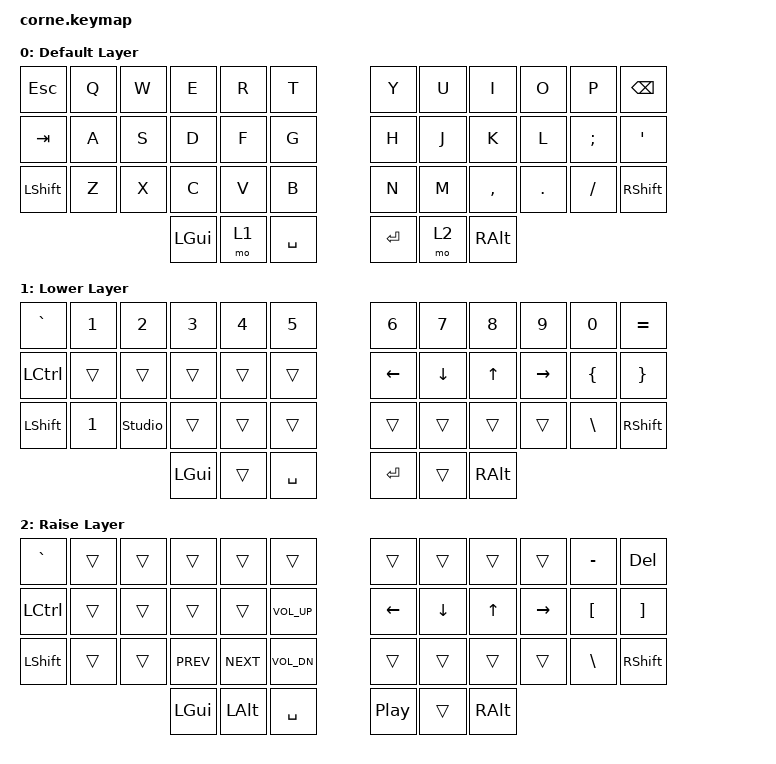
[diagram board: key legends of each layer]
/*
 * Copyright (c) 2020 The ZMK Contributors
 *
 * SPDX-License-Identifier: MIT
 */
#include <behaviors.dtsi>
#include <dt-bindings/zmk/keys.h>
#include <dt-bindings/zmk/bt.h>

/ {
        keymap { 
                compatible = "zmk,keymap";

                default_layer {
                        display-name = "Default Layer";
// ---------------- -------------------------------------------------------------------------
// |  ESC |  Q  |  W  |  E  |  R  |  T  |   |  Y  |  U   |  I  |  O  |  P  | BSPC |
// | TAB  |  A  |  S  |  D  |  F  |  G  |   |  H  |  J   |  K  |  L  |  ;  |  '   |
// | SHFT |  Z  |  X  |  C  |  V  |  B  |   |  N  |  M   |  ,  |  .  |  /  | RSHFT|
//                    | GUI | LWR | SPC |   | ENT | RSE  | ALT |
                        bindings = <
   &kp ESC   &kp Q &kp W &kp E &kp R &kp T   &kp Y &kp U  &kp I     &kp O   &kp P    &kp BSPC
   &kp TAB   &kp A &kp S &kp D &kp F &kp G   &kp H &kp J  &kp K     &kp L   &kp SEMI &kp SQT
   &kp LSHFT &kp Z &kp X &kp C &kp V &kp B   &kp N &kp M  &kp COMMA &kp DOT &kp FSLH &kp RSHFT
                  &kp LGUI &mo 1 &kp SPACE   &kp RET  &mo 2 &kp RALT
                        >;
                };
                lower_layer {
                        display-name = "Lower Layer";
// -----------------------------------------------------------------------------------------
// |  `   |  1  |  2  |  3  |  4  |  5  |   |  6  |  7  |  8  |  9  |  0  | = |
// | CTRL |     |     |     |     |     |   | LFT | DWN |  UP | RGT |     |      |
// | SHFT |  1  | std |     |     |     |   |     |     |     |     |  \  | RSHFT|
//                    | GUI |     | SPC |   | ENT |     | ALT |
                        bindings = <
   &kp GRAVE  &kp N1       &kp N2        &kp N3       &kp N4       &kp N5         &kp N6   &kp N7   &kp N8 &kp N9    &kp N0 &kp EQUAL
   &kp LCTRL  &trans       &trans        &trans       &trans       &trans         &kp LEFT &kp DOWN &kp UP &kp RIGHT &kp LEFT_BRACE &kp RIGHT_BRACE
   &kp LSHFT  &kp N1     &studio_unlock  &trans       &trans       &trans         &trans   &trans   &trans &trans    &kp BSLH &kp RSHFT
                                    &kp LGUI     &trans       &kp SPACE      &kp RET  &trans   &kp RALT
                        >;
                };

                raise_layer {
                        display-name = "Raise Layer";
// -----------------------------------------------------------------------------------------
// |  `   |     |     |     |     |     |   |     |     |     |     |  -  | DEL  |
// | CTRL |     |     |     |     | VOL+|   | LFT | DWN |  UP | RGT |     |      |
// | SHFT |     |     | PREV| NEXT| VOL-|   |     |     |     |     |  \  | RSHFT|
//                    | GUI | ALT | SPC |   | C_PP|     | ALT |
                        bindings = <
   &kp GRAVE  &trans   &trans   &trans   &trans   &trans      &trans   &trans   &trans   &trans   &kp MINUS   &kp DEL
   &kp LCTRL &trans   &trans   &trans   &trans   &kp C_VOL_UP   &kp LEFT   &kp DOWN   &kp UP   &kp RIGHT   &kp LEFT_BRACKET   &kp RIGHT_BRACKET
   &kp LSHFT &trans   &trans   &kp C_PREV   &kp C_NEXT   &kp C_VOL_DN   &trans   &trans   &trans   &trans   &kp BSLH   &kp RSHFT
                             &kp LGUI &kp LALT   &kp SPACE   &kp C_PP   &trans    &kp RALT
                        >;
                };
        };
};
